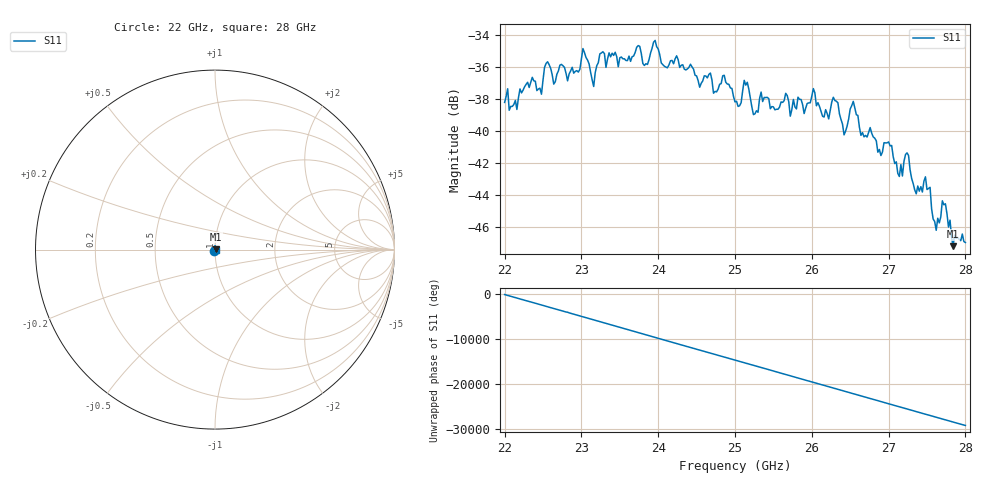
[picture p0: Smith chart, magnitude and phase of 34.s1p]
#  HZ  S  RI  R  50.00
! Rohde & Schwarz ZVA40 4Ports - Version 3.90 - 1145.1110k42 SN: 100403
! Date: 2023-10-04 06:12:09
! Measurement: S12
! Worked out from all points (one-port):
!   301 points, 22 GHz to 28 GHz, reference 50 ohm
!   lowest |S11| = -47.2 dB at 27.84 GHz (marker M1), VSWR 1.01, Z = 50.3 + j0.286 ohm
!   |S11| at or under -10 dB: start of sweep to end of sweep
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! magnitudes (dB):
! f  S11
! 22 GHz  -38.2
! 22.76 GHz  -35.9
! 22.96 GHz  -36.3
! 23.02 GHz  -34.9
! 23.16 GHz  -37.2
! 23.24 GHz  -35.2
! 23.5 GHz  -35.4
! 24.26 GHz  -35.6
! 25 GHz  -38.2
! 25.12 GHz  -36.9
! 25.24 GHz  -39.0
! 25.34 GHz  -37.6
! 25.76 GHz  -38.0
! 25.9 GHz  -38.9
! 26.02 GHz  -37.4
! 26.22 GHz  -39.3
! 26.28 GHz  -37.9
! 26.42 GHz  -40.3
! 26.5 GHz  -38.6
! 27.04 GHz  -40.9
! 27.14 GHz  -42.9
! 27.26 GHz  -41.6
! 27.36 GHz  -44.0
! 27.54 GHz  -43.5
! 27.62 GHz  -46.2
! 27.74 GHz  -44.6
! 27.84 GHz  -47.2
! 28 GHz  -47.0
